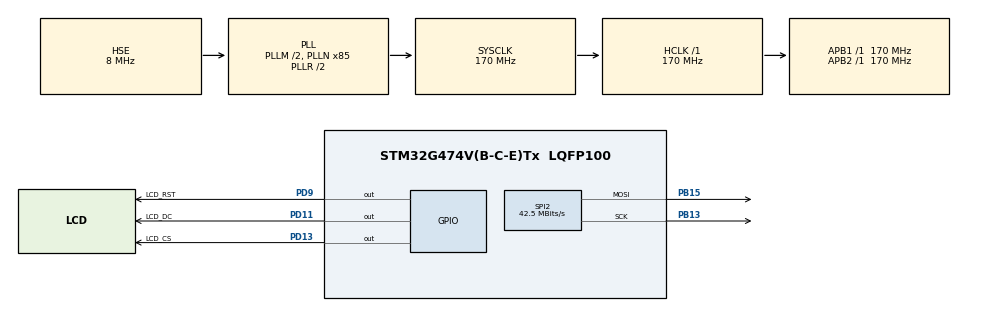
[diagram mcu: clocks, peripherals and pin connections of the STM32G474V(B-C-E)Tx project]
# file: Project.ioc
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Dma.Request0=SPI2_TX
Dma.SPI2_TX.0.Direction=DMA_MEMORY_TO_PERIPH
Dma.SPI2_TX.0.EventEnable=DISABLE
Dma.SPI2_TX.0.Instance=DMA1_Channel1
Dma.SPI2_TX.0.MemDataAlignment=DMA_MDATAALIGN_BYTE
Dma.SPI2_TX.0.MemInc=DMA_MINC_ENABLE
Dma.SPI2_TX.0.Mode=DMA_NORMAL
Dma.SPI2_TX.0.PeriphDataAlignment=DMA_PDATAALIGN_BYTE
Dma.SPI2_TX.0.PeriphInc=DMA_PINC_DISABLE
Dma.SPI2_TX.0.Polarity=HAL_DMAMUX_REQ_GEN_RISING
Dma.SPI2_TX.0.Priority=DMA_PRIORITY_LOW
Dma.SPI2_TX.0.RequestNumber=1
Dma.SPI2_TX.0.SignalID=NONE
Dma.SPI2_TX.0.SyncEnable=DISABLE
Dma.SPI2_TX.0.SyncPolarity=HAL_DMAMUX_SYNC_NO_EVENT
Dma.SPI2_TX.0.SyncRequestNumber=1
Dma.SPI2_TX.0.SyncSignalID=NONE
Mcu.Family=STM32G4
Mcu.Name=STM32G474V(B-C-E)Tx
Mcu.Package=LQFP100
NVIC.DMA1_Channel1_IRQn=true\:0\:0\:false\:false\:true\:false\:true\:true
NVIC.PriorityGroup=NVIC_PRIORITYGROUP_4
PA13.Mode=Serial_Wire
PA13.Signal=SYS_JTMS-SWDIO
PA14.Mode=Serial_Wire
PA14.Signal=SYS_JTCK-SWCLK
PB13.GPIO_Speed=GPIO_SPEED_FREQ_HIGH
PB13.Mode=TX_Only_Simplex_Unidirect_Master
PB13.Signal=SPI2_SCK
PB15.GPIO_Speed=GPIO_SPEED_FREQ_HIGH
PB15.Mode=TX_Only_Simplex_Unidirect_Master
PB15.Signal=SPI2_MOSI
PD11.GPIO_Label=LCD_DC
PD11.Signal=GPIO_Output
PD13.GPIO_Label=LCD_CS
PD13.PinState=GPIO_PIN_SET
PD13.Signal=GPIO_Output
PD9.GPIO_Label=LCD_RST
PD9.Signal=GPIO_Output
PF0-OSC_IN.Mode=HSE-External-Oscillator
PF0-OSC_IN.Signal=RCC_OSC_IN
PF1-OSC_OUT.Mode=HSE-External-Oscillator
PF1-OSC_OUT.Signal=RCC_OSC_OUT
ProjectManager.HeapSize=0x0
ProjectManager.StackSize=0x1000
ProjectManager.TargetToolchain=MDK-ARM V5.32
RCC.ADC12Freq_Value=170000000
RCC.ADC345Freq_Value=170000000
RCC.AHBFreq_Value=170000000
RCC.APB1Freq_Value=170000000
RCC.APB1TimFreq_Value=170000000
RCC.APB2Freq_Value=170000000
RCC.APB2TimFreq_Value=170000000
RCC.CortexFreq_Value=170000000
RCC.EXTERNAL_CLOCK_VALUE=12288000
RCC.HCLKFreq_Value=170000000
RCC.HSE_VALUE=8000000
RCC.HSI48_VALUE=48000000
RCC.HSI_VALUE=16000000
RCC.LSE_VALUE=32768
RCC.PLLM=RCC_PLLM_DIV2
RCC.PLLN=85
RCC.PLLSourceVirtual=RCC_PLLSOURCE_HSE
RCC.SYSCLKFreq_VALUE=170000000
RCC.SYSCLKSource=RCC_SYSCLKSOURCE_PLLCLK
RCC.USBFreq_Value=170000000
RCC.VCOOutputFreq_Value=340000000
SPI2.BaudRatePrescaler=SPI_BAUDRATEPRESCALER_4
SPI2.CalculateBaudRate=42.5 MBits/s
SPI2.DataSize=SPI_DATASIZE_8BIT
SPI2.Direction=SPI_DIRECTION_2LINES
SPI2.Mode=SPI_MODE_MASTER
SPI2.VirtualType=VM_MASTER
VP_SYS_VS_DBSignals.Mode=DisableDeadBatterySignals
board=custom

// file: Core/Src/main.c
/* USER CODE BEGIN Header */
/**
  ******************************************************************************
  * @file           : main.c
  * @brief          : Main program body
  ******************************************************************************
  * @attention
  *
  * Copyright (c) 2025 STMicroelectronics.
  * All rights reserved.
  *
  * This software is licensed under terms that can be found in the LICENSE file
  * in the root directory of this software component.
  * If no LICENSE file comes with this software, it is provided AS-IS.
  *
  ******************************************************************************
  */
/* USER CODE END Header */
#include "main.h"
#include "dma.h"
#include "spi.h"
#include "gpio.h"

/* USER CODE BEGIN Includes */
#include "lcd.h"

/* USER CODE END Includes */

void SystemClock_Config(void);

int main(void)
{

  /* MCU Configuration--------------------------------------------------------*/

  /* Reset of all peripherals, Initializes the Flash interface and the Systick. */
  HAL_Init();

  /* Configure the system clock */
  SystemClock_Config();

  /* Initialize all configured peripherals */
  MX_GPIO_Init();
  MX_DMA_Init();
  MX_SPI2_Init();
  /* USER CODE BEGIN 2 */
  LCD_Init();
  LCD_ClearAll(BLACK);	HAL_Delay(200);
  LCD_ClearAll(RED);	HAL_Delay(200);
  LCD_ClearAll(ORANGE);	HAL_Delay(200);
  LCD_ClearAll(YELLOW);	HAL_Delay(200);
  LCD_ClearAll(GREEN);	HAL_Delay(200);
  LCD_ClearAll(BLUE);	HAL_Delay(200);
  LCD_ClearAll(PURPLE);	HAL_Delay(200);
  LCD_ClearAll(WHITE);	HAL_Delay(200);

  uint16_t xpos = (LCD_W - 128) / 4;
  uint16_t ypos = (LCD_H - 148) / 3;
  LCD_ShowString(xpos, ypos + 0, 32, BLACK, WHITE, "LCD TEST");
  LCD_ShowString(xpos, ypos + 32, 32, BLACK, WHITE, "Penguins");
  LCD_ShowString(xpos, ypos + 64, 32, BLACK, WHITE, "F3216");
  LCD_ShowString(xpos, ypos + 96, 24, BLACK, WHITE, "F2412");
  LCD_ShowString(xpos, ypos + 120, 16, BLACK, WHITE, "F1608");
  LCD_ShowString(xpos, ypos + 136, 12, BLACK, WHITE, "F1206");

  /* USER CODE END 2 */

  /* Infinite loop */
  while (1)
  {

  }
}

void SystemClock_Config(void)
{
  RCC_OscInitTypeDef RCC_OscInitStruct = {0};
  RCC_ClkInitTypeDef RCC_ClkInitStruct = {0};

  /** Configure the main internal regulator output voltage
  */
  HAL_PWREx_ControlVoltageScaling(PWR_REGULATOR_VOLTAGE_SCALE1_BOOST);

  /** Initializes the RCC Oscillators according to the specified parameters
  * in the RCC_OscInitTypeDef structure.
  */
  RCC_OscInitStruct.OscillatorType = RCC_OSCILLATORTYPE_HSE;
  RCC_OscInitStruct.HSEState = RCC_HSE_ON;
  RCC_OscInitStruct.PLL.PLLState = RCC_PLL_ON;
  RCC_OscInitStruct.PLL.PLLSource = RCC_PLLSOURCE_HSE;
  RCC_OscInitStruct.PLL.PLLM = RCC_PLLM_DIV2;
  RCC_OscInitStruct.PLL.PLLN = 85;
  RCC_OscInitStruct.PLL.PLLP = RCC_PLLP_DIV2;
  RCC_OscInitStruct.PLL.PLLQ = RCC_PLLQ_DIV2;
  RCC_OscInitStruct.PLL.PLLR = RCC_PLLR_DIV2;
  if (HAL_RCC_OscConfig(&RCC_OscInitStruct) != HAL_OK)
  {
    Error_Handler();
  }

  /** Initializes the CPU, AHB and APB buses clocks
  */
  RCC_ClkInitStruct.ClockType = RCC_CLOCKTYPE_HCLK|RCC_CLOCKTYPE_SYSCLK
                              |RCC_CLOCKTYPE_PCLK1|RCC_CLOCKTYPE_PCLK2;
  RCC_ClkInitStruct.SYSCLKSource = RCC_SYSCLKSOURCE_PLLCLK;
  RCC_ClkInitStruct.AHBCLKDivider = RCC_SYSCLK_DIV1;
  RCC_ClkInitStruct.APB1CLKDivider = RCC_HCLK_DIV1;
  RCC_ClkInitStruct.APB2CLKDivider = RCC_HCLK_DIV1;

  if (HAL_RCC_ClockConfig(&RCC_ClkInitStruct, FLASH_LATENCY_4) != HAL_OK)
  {
    Error_Handler();
  }
}

void Error_Handler(void)
{
  __disable_irq();
  while (1)
  {
  }
}
